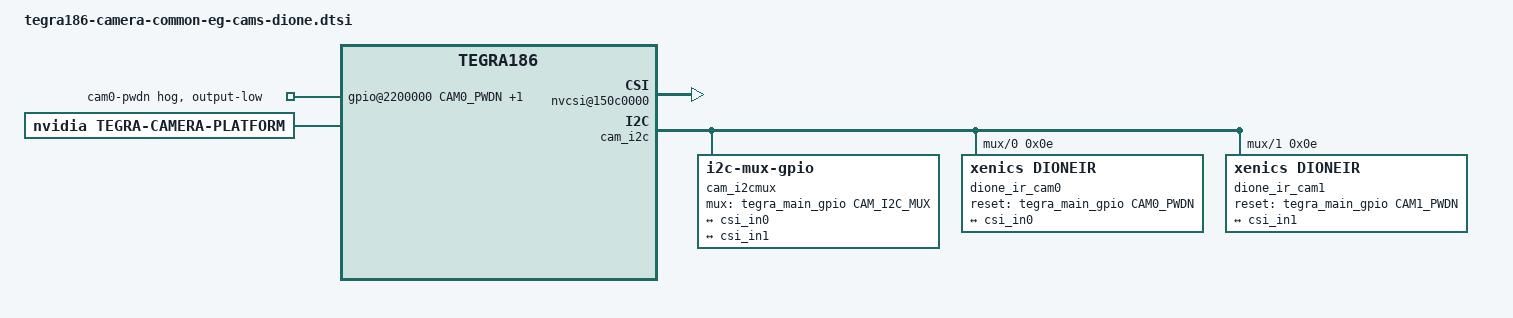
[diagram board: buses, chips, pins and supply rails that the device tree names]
/*
 * Copyright (c) 2025, Exosens.  All rights reserved.
 *
 * This program is free software; you can redistribute it and/or modify
 * it under the terms of the GNU General Public License as published by
 * the Free Software Foundation; either version 2 of the License, or
 * (at your option) any later version.
 *
 * Exosens EG cameras — common DT overlay for NVIDIA Jetson TX2 / TX2i / TX2 NX
 * (tegra186: quill p3310, quill p3489, lanai p3636)
 *
 * Hardware:
 *   CAM0: serial_a, port-index 0, I2C bus 9  (cam_i2cmux i2c@0)
 *   CAM1: serial_c, port-index 2, I2C bus 10 (cam_i2cmux i2c@1)
 *   cam_i2cmux GPIO mux: TEGRA_MAIN_GPIO(C, 4)
 *   CAM0_PWDN:           TEGRA_MAIN_GPIO(N, 0)
 *   CAM1_PWDN:           TEGRA_MAIN_GPIO(N, 3)
 */

#include <dt-bindings/media/camera.h>
#include <dt-bindings/gpio/tegra186-gpio.h>

#define CAM0_PWDN	TEGRA_MAIN_GPIO(N, 0)
#define CAM1_PWDN	TEGRA_MAIN_GPIO(N, 3)
#define CAM_I2C_MUX	TEGRA_MAIN_GPIO(C, 4)

/ {
	fragment@0 {
		target-path = "/";
		__overlay__ {
			host1x {
				vi@15700000 {
					status = "okay";
					num-channels = <2>;
					ports {
						status = "okay";
						#address-cells = <1>;
						#size-cells = <0>;
						port@0 {
							status = "okay";
							reg = <0>;
							endpoint {
								status = "okay";
								port-index = <0>;
								bus-width = <2>;
								/* remote-endpoint already wired to csi_out0 in base DTB */
							};
						};
						port@1 {
							status = "okay";
							reg = <1>;
							endpoint {
								status = "okay";
								port-index = <2>;
								bus-width = <2>;
								/* remote-endpoint already wired to csi_out1 in base DTB */
							};
						};
					};
				};

				nvcsi@150c0000 {
					status = "okay";
					num-channels = <2>;
					#address-cells = <1>;
					#size-cells = <0>;
					channel@0 {
						status = "okay";
						reg = <0>;
						ports {
							status = "okay";
							#address-cells = <1>;
							#size-cells = <0>;
							port@0 {
								status = "okay";
								reg = <0>;
								endpoint@0 {
									status = "okay";
									port-index = <0>;
									bus-width = <2>;
									remote-endpoint = <&xenics_dione_ir_out0>;
								};
							};
							port@1 {
								status = "okay";
								reg = <1>;
							};
						};
					};
					channel@1 {
						status = "okay";
						reg = <1>;
						ports {
							status = "okay";
							#address-cells = <1>;
							#size-cells = <0>;
							port@0 {
								status = "okay";
								reg = <0>;
								endpoint@2 {
									status = "okay";
									port-index = <2>;
									bus-width = <2>;
									remote-endpoint = <&xenics_dione_ir_out1>;
								};
							};
							port@1 {
								status = "okay";
								reg = <1>;
							};
						};
					};
				};
			};

			/* GPIO power-down control */
			gpio@2200000 {
				camera-control-output-low {
					gpio-hog;
					output-low;
					gpios = <CAM0_PWDN 0 CAM1_PWDN 0>;
					label = "cam0-pwdn", "cam1-pwdn";
				};
			};

			/* I2C mux — GPIO-controlled, parent is the camera I2C bus */
			cam_i2cmux {
				compatible = "i2c-mux-gpio";
				#address-cells = <1>;
				#size-cells = <0>;
				i2c-parent = <&cam_i2c>;
				mux-gpios = <&tegra_main_gpio CAM_I2C_MUX GPIO_ACTIVE_HIGH>;

				/* ----------------------------------------------------------------
				 * CAM0  —  serial_a, port-index 0, I2C bus 9
				 * ---------------------------------------------------------------- */
				i2c@0 {
					reg = <0>;
					#address-cells = <1>;
					#size-cells = <0>;

					dione_ir_cam0: xenics_dione_ir_a@0e {
						compatible = "xenics,dioneir", "exosens,dioneir";
						reg = <0x0e>;
						fpga-address = <0x5a 0x5b 0x5c 0x5d>;
						devnode = "video0";
						physical_w = "7.680";
						physical_h = "5.760";
						sensor_model = "dione_ir";
						use_sensor_mode_id = "false";
						reset-gpios = <&tegra_main_gpio CAM0_PWDN GPIO_ACTIVE_HIGH>;

						mode0 { /* DIONE_IR_MODE_640x480_60FPS */
							mclk_khz = "24000";
							num_lanes = "2";
							tegra_sinterface = "serial_a";
							phy_mode = "DPHY";
							discontinuous_clk = "no";
							dpcm_enable = "false";
							cil_settletime = "0";
							active_w = "640";
							active_h = "480";
							mode_type = "rgb";
							pixel_phase = "rgb888";
							csi_pixel_bit_depth = "24";
							readout_orientation = "0";
							line_length = "694";
							pix_clk_hz = "20000000";
							gain_factor = "16";
							exposure_factor = "1000000";
							min_gain_val = "16";
							max_gain_val = "170";
							step_gain_val = "1";
							default_gain = "16";
							min_hdr_ratio = "1";
							max_hdr_ratio = "1";
							framerate_factor = "1000000";
							min_framerate = "40000000";
							max_framerate = "62000000";
							step_framerate = "1";
							default_framerate = "60020000";
							min_exp_time = "13";
							max_exp_time = "683709";
							step_exp_time = "1";
							default_exp_time = "2495";
							embedded_metadata_height = "0";
						};
						mode1 { /* DIONE_IR_MODE_1280x1024_60FPS */
							mclk_khz = "24000";
							num_lanes = "2";
							tegra_sinterface = "serial_a";
							phy_mode = "DPHY";
							discontinuous_clk = "no";
							dpcm_enable = "false";
							cil_settletime = "0";
							active_w = "1280";
							active_h = "1024";
							mode_type = "rgb";
							pixel_phase = "rgb888";
							csi_pixel_bit_depth = "24";
							readout_orientation = "0";
							line_length = "1334";
							pix_clk_hz = "83000000";
							gain_factor = "16";
							exposure_factor = "1000000";
							min_gain_val = "16";
							max_gain_val = "170";
							step_gain_val = "1";
							default_gain = "16";
							min_hdr_ratio = "1";
							max_hdr_ratio = "1";
							framerate_factor = "1000000";
							min_framerate = "40000000";
							max_framerate = "62000000";
							step_framerate = "1";
							default_framerate = "60756000";
							min_exp_time = "13";
							max_exp_time = "683709";
							step_exp_time = "1";
							default_exp_time = "2495";
							embedded_metadata_height = "0";
						};
						mode2 { /* DIONE_IR_MODE_320x240_60FPS */
							mclk_khz = "24000";
							num_lanes = "2";
							tegra_sinterface = "serial_a";
							phy_mode = "DPHY";
							discontinuous_clk = "no";
							dpcm_enable = "false";
							cil_settletime = "0";
							active_w = "320";
							active_h = "240";
							mode_type = "rgb";
							pixel_phase = "rgb888";
							csi_pixel_bit_depth = "24";
							readout_orientation = "0";
							line_length = "1404";
							pix_clk_hz = "20000000";
							gain_factor = "16";
							exposure_factor = "1000000";
							min_gain_val = "16";
							max_gain_val = "170";
							step_gain_val = "1";
							default_gain = "16";
							min_hdr_ratio = "1";
							max_hdr_ratio = "1";
							framerate_factor = "1000000";
							min_framerate = "40000000";
							max_framerate = "62000000";
							step_framerate = "1";
							default_framerate = "60020000";
							min_exp_time = "13";
							max_exp_time = "683709";
							step_exp_time = "1";
							default_exp_time = "2495";
							embedded_metadata_height = "0";
						};
						mode3 { /* DIONE_IR_MODE_1024x768_60FPS */
							mclk_khz = "24000";
							num_lanes = "2";
							tegra_sinterface = "serial_a";
							phy_mode = "DPHY";
							discontinuous_clk = "no";
							dpcm_enable = "false";
							cil_settletime = "0";
							active_w = "1024";
							active_h = "768";
							mode_type = "rgb";
							pixel_phase = "rgb888";
							csi_pixel_bit_depth = "24";
							readout_orientation = "0";
							line_length = "1079";
							pix_clk_hz = "83000000";
							gain_factor = "16";
							exposure_factor = "1000000";
							min_gain_val = "16";
							max_gain_val = "170";
							step_gain_val = "1";
							default_gain = "16";
							min_hdr_ratio = "1";
							max_hdr_ratio = "1";
							framerate_factor = "1000000";
							min_framerate = "40000000";
							max_framerate = "62000000";
							step_framerate = "1";
							default_framerate = "60756000";
							min_exp_time = "13";
							max_exp_time = "683709";
							step_exp_time = "1";
							default_exp_time = "2495";
							embedded_metadata_height = "0";
						};
						ports {
							#address-cells = <1>;
							#size-cells = <0>;
							port@0 {
								reg = <0>;
								xenics_dione_ir_out0: endpoint {
									port-index = <0>;
									bus-width = <2>;
									remote-endpoint = <&csi_in0>;
									link-frequencies = /bits/ 64 <120000000 498000000>;
								};
							};
						};
					};

					eg_ec_cam0: eg_ec_a@16 {
						compatible = "xenics,eg-ec-mipi", "exosens,eg-ec-mipi";
						reg = <0x16>;
						devnode = "video0";
						sensor_model = "eg_ec";
						use_sensor_mode_id = "true";
						status = "disabled";

						mode0 { /* EC_MODE_640x480_RAW16 */
							num_lanes = "2";
							tegra_sinterface = "serial_a";
							phy_mode = "DPHY";
							discontinuous_clk = "yes";
							dpcm_enable = "false";
							cil_settletime = "0";
							active_w = "640";
							active_h = "480";
							line_length = "640";
							mode_type = "raw";
							pixel_phase = "grey";
							csi_pixel_bit_depth = "16";
							pix_clk_hz = "100000000";
							embedded_metadata_height = "0";
						};
						mode1 { /* EC_MODE_640x480_RGB888 */
							num_lanes = "2";
							tegra_sinterface = "serial_a";
							phy_mode = "DPHY";
							discontinuous_clk = "yes";
							dpcm_enable = "false";
							cil_settletime = "0";
							active_w = "640";
							active_h = "480";
							line_length = "640";
							mode_type = "rgb";
							pixel_phase = "rgb888";
							csi_pixel_bit_depth = "24";
							pix_clk_hz = "100000000";
							embedded_metadata_height = "0";
						};
						mode2 { /* EC_MODE_640x480_YUYV */
							num_lanes = "2";
							tegra_sinterface = "serial_a";
							phy_mode = "DPHY";
							discontinuous_clk = "yes";
							dpcm_enable = "false";
							cil_settletime = "0";
							active_w = "640";
							active_h = "480";
							line_length = "640";
							mode_type = "yuv";
							pixel_phase = "yuyv";
							csi_pixel_bit_depth = "16";
							pix_clk_hz = "100000000";
							embedded_metadata_height = "0";
						};
						mode3 { /* EC_MODE_1280x1024_RAW16 */
							num_lanes = "2";
							tegra_sinterface = "serial_a";
							phy_mode = "DPHY";
							discontinuous_clk = "yes";
							dpcm_enable = "false";
							cil_settletime = "0";
							active_w = "1280";
							active_h = "1024";
							line_length = "1280";
							mode_type = "raw";
							pixel_phase = "grey";
							csi_pixel_bit_depth = "16";
							pix_clk_hz = "100000000";
							embedded_metadata_height = "0";
						};
						mode4 { /* EC_MODE_1280x1024_RGB888 */
							num_lanes = "2";
							tegra_sinterface = "serial_a";
							phy_mode = "DPHY";
							discontinuous_clk = "yes";
							dpcm_enable = "false";
							cil_settletime = "0";
							active_w = "1280";
							active_h = "1024";
							line_length = "1280";
							mode_type = "rgb";
							pixel_phase = "rgb888";
							csi_pixel_bit_depth = "24";
							pix_clk_hz = "133333336";
							embedded_metadata_height = "0";
						};
						mode5 { /* EC_MODE_1280x1024_YUYV */
							num_lanes = "2";
							tegra_sinterface = "serial_a";
							phy_mode = "DPHY";
							discontinuous_clk = "yes";
							dpcm_enable = "false";
							cil_settletime = "0";
							active_w = "1280";
							active_h = "1024";
							line_length = "1280";
							mode_type = "yuv";
							pixel_phase = "yuyv";
							csi_pixel_bit_depth = "16";
							pix_clk_hz = "100000000";
							embedded_metadata_height = "0";
						};
						ports {
							#address-cells = <1>;
							#size-cells = <0>;
							port@0 {
								reg = <0>;
								eg_ec_out0: endpoint {
									port-index = <0>;
									bus-width = <2>;
									remote-endpoint = <&csi_in0>;
								};
							};
						};
					};

					ilumos_cam0: ilumos_a@30 {
						compatible = "exosens,ilumos";
						reg = <0x30>;
						sensor_model = "ilumos";
						use_sensor_mode_id = "false";
						status = "disabled";

						mode0 { /* ILUMOS_MODE_2048x2048_RAW16_BE */
							num_lanes = "2";
							tegra_sinterface = "serial_a";
							phy_mode = "DPHY";
							discontinuous_clk = "no";
							dpcm_enable = "false";
							cil_settletime = "0";
							active_w = "2048";
							active_h = "2048";
							line_length = "2048";
							mode_type = "raw";
							pixel_phase = "grey_be";
							csi_pixel_bit_depth = "16";
							pix_clk_hz = "148750000";
							embedded_metadata_height = "0";
							gain_factor = "16";
							exposure_factor = "1000000";
							min_gain_val = "16";
							max_gain_val = "170";
							step_gain_val = "1";
							default_gain = "16";
							min_hdr_ratio = "1";
							max_hdr_ratio = "1";
							framerate_factor = "1000000";
							min_framerate = "40000000";
							max_framerate = "62000000";
							step_framerate = "1";
							default_framerate = "60756000";
							min_exp_time = "13";
							max_exp_time = "683709";
							step_exp_time = "1";
							default_exp_time = "2495";
						};
						mode1 { /* ILUMOS_MODE_2048x1088_RAW16_BE */
							num_lanes = "2";
							tegra_sinterface = "serial_a";
							phy_mode = "DPHY";
							discontinuous_clk = "no";
							dpcm_enable = "false";
							cil_settletime = "0";
							active_w = "2048";
							active_h = "1088";
							line_length = "2048";
							mode_type = "raw";
							pixel_phase = "grey_be";
							csi_pixel_bit_depth = "16";
							pix_clk_hz = "148750000";
							embedded_metadata_height = "0";
							gain_factor = "16";
							exposure_factor = "1000000";
							min_gain_val = "16";
							max_gain_val = "170";
							step_gain_val = "1";
							default_gain = "16";
							min_hdr_ratio = "1";
							max_hdr_ratio = "1";
							framerate_factor = "1000000";
							min_framerate = "40000000";
							max_framerate = "62000000";
							step_framerate = "1";
							default_framerate = "60756000";
							min_exp_time = "13";
							max_exp_time = "683709";
							step_exp_time = "1";
							default_exp_time = "2495";
						};
						mode2 { /* ILUMOS_MODE_1280x1024_RAW16_BE */
							num_lanes = "2";
							tegra_sinterface = "serial_a";
							phy_mode = "DPHY";
							discontinuous_clk = "no";
							dpcm_enable = "false";
							cil_settletime = "0";
							active_w = "1280";
							active_h = "1024";
							line_length = "1280";
							mode_type = "raw";
							pixel_phase = "grey_be";
							csi_pixel_bit_depth = "16";
							pix_clk_hz = "148750000";
							embedded_metadata_height = "0";
							gain_factor = "16";
							exposure_factor = "1000000";
							min_gain_val = "16";
							max_gain_val = "170";
							step_gain_val = "1";
							default_gain = "16";
							min_hdr_ratio = "1";
							max_hdr_ratio = "1";
							framerate_factor = "1000000";
							min_framerate = "40000000";
							max_framerate = "62000000";
							step_framerate = "1";
							default_framerate = "60756000";
							min_exp_time = "13";
							max_exp_time = "683709";
							step_exp_time = "1";
							default_exp_time = "2495";
						};
						mode3 { /* ILUMOS_MODE_2048x2048_RAW14 */
							num_lanes = "2";
							tegra_sinterface = "serial_a";
							phy_mode = "DPHY";
							discontinuous_clk = "no";
							dpcm_enable = "false";
							cil_settletime = "0";
							active_w = "2048";
							active_h = "2048";
							line_length = "2048";
							mode_type = "raw";
							pixel_phase = "grey";
							csi_pixel_bit_depth = "14";
							pix_clk_hz = "148750000";
							embedded_metadata_height = "0";
							gain_factor = "16";
							exposure_factor = "1000000";
							min_gain_val = "16";
							max_gain_val = "170";
							step_gain_val = "1";
							default_gain = "16";
							min_hdr_ratio = "1";
							max_hdr_ratio = "1";
							framerate_factor = "1000000";
							min_framerate = "40000000";
							max_framerate = "62000000";
							step_framerate = "1";
							default_framerate = "60756000";
							min_exp_time = "13";
							max_exp_time = "683709";
							step_exp_time = "1";
							default_exp_time = "2495";
						};
						mode4 { /* ILUMOS_MODE_2048x1088_RAW14 */
							num_lanes = "2";
							tegra_sinterface = "serial_a";
							phy_mode = "DPHY";
							discontinuous_clk = "no";
							dpcm_enable = "false";
							cil_settletime = "0";
							active_w = "2048";
							active_h = "1088";
							line_length = "2048";
							mode_type = "raw";
							pixel_phase = "grey";
							csi_pixel_bit_depth = "14";
							pix_clk_hz = "148750000";
							embedded_metadata_height = "0";
							gain_factor = "16";
							exposure_factor = "1000000";
							min_gain_val = "16";
							max_gain_val = "170";
							step_gain_val = "1";
							default_gain = "16";
							min_hdr_ratio = "1";
							max_hdr_ratio = "1";
							framerate_factor = "1000000";
							min_framerate = "40000000";
							max_framerate = "62000000";
							step_framerate = "1";
							default_framerate = "60756000";
							min_exp_time = "13";
							max_exp_time = "683709";
							step_exp_time = "1";
							default_exp_time = "2495";
						};
						mode5 { /* ILUMOS_MODE_1280x1024_RAW14 */
							num_lanes = "2";
							tegra_sinterface = "serial_a";
							phy_mode = "DPHY";
							discontinuous_clk = "no";
							dpcm_enable = "false";
							cil_settletime = "0";
							active_w = "1280";
							active_h = "1024";
							line_length = "1280";
							mode_type = "raw";
							pixel_phase = "grey";
							csi_pixel_bit_depth = "14";
							pix_clk_hz = "148750000";
							embedded_metadata_height = "0";
							gain_factor = "16";
							exposure_factor = "1000000";
							min_gain_val = "16";
							max_gain_val = "170";
							step_gain_val = "1";
							default_gain = "16";
							min_hdr_ratio = "1";
							max_hdr_ratio = "1";
							framerate_factor = "1000000";
							min_framerate = "40000000";
							max_framerate = "62000000";
							step_framerate = "1";
							default_framerate = "60756000";
							min_exp_time = "13";
							max_exp_time = "683709";
							step_exp_time = "1";
							default_exp_time = "2495";
						};
						ports {
							#address-cells = <1>;
							#size-cells = <0>;
							port@0 {
								reg = <0>;
								ilumos_out0: endpoint {
									port-index = <0>;
									bus-width = <2>;
									remote-endpoint = <&csi_in0>;
								};
							};
						};
					};

					microlynx_cam0: microlynx_a@51 {
						compatible = "exosens,microlynx";
						reg = <0x51>;
						sensor_model = "microlynx";
						use_sensor_mode_id = "true";
						line-height = <128>;
						status = "disabled";

						mode0 { /* MICROLYNX_MODE_1024x128_RAW16 */
							num_lanes = "2";
							tegra_sinterface = "serial_a";
							phy_mode = "DPHY";
							discontinuous_clk = "no";
							dpcm_enable = "false";
							cil_settletime = "0";
							active_w = "1024";
							active_h = "128";
							line_length = "1024";
							mode_type = "raw";
							pixel_phase = "grey";
							csi_pixel_bit_depth = "16";
							pix_clk_hz = "90000000";
							embedded_metadata_height = "0";
						};
						mode1 { /* MICROLYNX_MODE_1024x128_RAW14 */
							num_lanes = "2";
							tegra_sinterface = "serial_a";
							phy_mode = "DPHY";
							discontinuous_clk = "no";
							dpcm_enable = "false";
							cil_settletime = "0";
							active_w = "1024";
							active_h = "128";
							line_length = "1024";
							mode_type = "raw";
							pixel_phase = "grey";
							csi_pixel_bit_depth = "14";
/*							pix_clk_hz = "100000000"; */   /* 350 MHz CSI clock */
							pix_clk_hz = "102857142";  /* 360 MHz CSI clock */
							embedded_metadata_height = "0";
						};
						ports {
							#address-cells = <1>;
							#size-cells = <0>;
							port@0 {
								reg = <0>;
								microlynx_out0: endpoint {
									port-index = <0>;
									bus-width = <2>;
									remote-endpoint = <&csi_in0>;
								};
							};
						};
					};
				}; /* i2c@0 */

				/* ----------------------------------------------------------------
				 * CAM1  —  serial_c, port-index 2, I2C bus 10
				 * ---------------------------------------------------------------- */
				i2c@1 {
					reg = <1>;
					#address-cells = <1>;
					#size-cells = <0>;

					dione_ir_cam1: xenics_dione_ir_c@0e {
						compatible = "xenics,dioneir", "exosens,dioneir";
						reg = <0x0e>;
						fpga-address = <0x5a 0x5b 0x5c 0x5d>;
						devnode = "video1";
						physical_w = "7.680";
						physical_h = "5.760";
						sensor_model = "dione_ir";
						use_sensor_mode_id = "false";
						reset-gpios = <&tegra_main_gpio CAM1_PWDN GPIO_ACTIVE_HIGH>;

						mode0 { /* DIONE_IR_MODE_640x480_60FPS */
							mclk_khz = "24000";
							num_lanes = "2";
							tegra_sinterface = "serial_c";
							phy_mode = "DPHY";
							discontinuous_clk = "no";
							dpcm_enable = "false";
							cil_settletime = "0";
							active_w = "640";
							active_h = "480";
							mode_type = "rgb";
							pixel_phase = "rgb888";
							csi_pixel_bit_depth = "24";
							readout_orientation = "0";
							line_length = "694";
							pix_clk_hz = "20000000";
							gain_factor = "16";
							exposure_factor = "1000000";
							min_gain_val = "16";
							max_gain_val = "170";
							step_gain_val = "1";
							default_gain = "16";
							min_hdr_ratio = "1";
							max_hdr_ratio = "1";
							framerate_factor = "1000000";
							min_framerate = "40000000";
							max_framerate = "62000000";
							step_framerate = "1";
							default_framerate = "60020000";
							min_exp_time = "13";
							max_exp_time = "683709";
							step_exp_time = "1";
							default_exp_time = "2495";
							embedded_metadata_height = "0";
						};
						mode1 { /* DIONE_IR_MODE_1280x1024_60FPS */
							mclk_khz = "24000";
							num_lanes = "2";
							tegra_sinterface = "serial_c";
							phy_mode = "DPHY";
							discontinuous_clk = "no";
							dpcm_enable = "false";
							cil_settletime = "0";
							active_w = "1280";
							active_h = "1024";
							mode_type = "rgb";
							pixel_phase = "rgb888";
							csi_pixel_bit_depth = "24";
							readout_orientation = "0";
							line_length = "1334";
							pix_clk_hz = "83000000";
							gain_factor = "16";
							exposure_factor = "1000000";
							min_gain_val = "16";
							max_gain_val = "170";
							step_gain_val = "1";
							default_gain = "16";
							min_hdr_ratio = "1";
							max_hdr_ratio = "1";
							framerate_factor = "1000000";
							min_framerate = "40000000";
							max_framerate = "62000000";
							step_framerate = "1";
							default_framerate = "60756000";
							min_exp_time = "13";
							max_exp_time = "683709";
							step_exp_time = "1";
							default_exp_time = "2495";
							embedded_metadata_height = "0";
						};
						mode2 { /* DIONE_IR_MODE_320x240_60FPS */
							mclk_khz = "24000";
							num_lanes = "2";
							tegra_sinterface = "serial_c";
							phy_mode = "DPHY";
							discontinuous_clk = "no";
							dpcm_enable = "false";
							cil_settletime = "0";
							active_w = "320";
							active_h = "240";
							mode_type = "rgb";
							pixel_phase = "rgb888";
							csi_pixel_bit_depth = "24";
							readout_orientation = "0";
							line_length = "1404";
							pix_clk_hz = "20000000";
							gain_factor = "16";
							exposure_factor = "1000000";
							min_gain_val = "16";
							max_gain_val = "170";
							step_gain_val = "1";
							default_gain = "16";
							min_hdr_ratio = "1";
							max_hdr_ratio = "1";
							framerate_factor = "1000000";
							min_framerate = "40000000";
							max_framerate = "62000000";
							step_framerate = "1";
							default_framerate = "60020000";
							min_exp_time = "13";
							max_exp_time = "683709";
							step_exp_time = "1";
							default_exp_time = "2495";
							embedded_metadata_height = "0";
						};
						mode3 { /* DIONE_IR_MODE_1024x768_60FPS */
							mclk_khz = "24000";
							num_lanes = "2";
							tegra_sinterface = "serial_c";
							phy_mode = "DPHY";
							discontinuous_clk = "no";
							dpcm_enable = "false";
							cil_settletime = "0";
							active_w = "1024";
							active_h = "768";
							mode_type = "rgb";
							pixel_phase = "rgb888";
							csi_pixel_bit_depth = "24";
							readout_orientation = "0";
							line_length = "1079";
							pix_clk_hz = "83000000";
							gain_factor = "16";
							exposure_factor = "1000000";
							min_gain_val = "16";
							max_gain_val = "170";
							step_gain_val = "1";
							default_gain = "16";
							min_hdr_ratio = "1";
							max_hdr_ratio = "1";
							framerate_factor = "1000000";
							min_framerate = "40000000";
							max_framerate = "62000000";
							step_framerate = "1";
							default_framerate = "60756000";
							min_exp_time = "13";
							max_exp_time = "683709";
							step_exp_time = "1";
							default_exp_time = "2495";
							embedded_metadata_height = "0";
						};
						ports {
							#address-cells = <1>;
							#size-cells = <0>;
							port@0 {
								reg = <0>;
								xenics_dione_ir_out1: endpoint {
									port-index = <2>;
									bus-width = <2>;
									remote-endpoint = <&csi_in1>;
									link-frequencies = /bits/ 64 <120000000 498000000>;
								};
							};
						};
					};

					eg_ec_cam1: eg_ec_c@16 {
						compatible = "xenics,eg-ec-mipi", "exosens,eg-ec-mipi";
						reg = <0x16>;
						devnode = "video1";
						sensor_model = "eg_ec";
						use_sensor_mode_id = "true";
						status = "disabled";

						mode0 { /* EC_MODE_640x480_RAW16 */
							num_lanes = "2";
							tegra_sinterface = "serial_c";
							phy_mode = "DPHY";
							discontinuous_clk = "yes";
							dpcm_enable = "false";
							cil_settletime = "0";
							active_w = "640";
							active_h = "480";
							line_length = "640";
							mode_type = "raw";
							pixel_phase = "grey";
							csi_pixel_bit_depth = "16";
							pix_clk_hz = "100000000";
							embedded_metadata_height = "0";
						};
						mode1 { /* EC_MODE_640x480_RGB888 */
							num_lanes = "2";
							tegra_sinterface = "serial_c";
							phy_mode = "DPHY";
							discontinuous_clk = "yes";
							dpcm_enable = "false";
							cil_settletime = "0";
							active_w = "640";
							active_h = "480";
							line_length = "640";
							mode_type = "rgb";
							pixel_phase = "rgb888";
							csi_pixel_bit_depth = "24";
							pix_clk_hz = "100000000";
							embedded_metadata_height = "0";
						};
						mode2 { /* EC_MODE_640x480_YUYV */
							num_lanes = "2";
							tegra_sinterface = "serial_c";
							phy_mode = "DPHY";
							discontinuous_clk = "yes";
							dpcm_enable = "false";
							cil_settletime = "0";
							active_w = "640";
							active_h = "480";
							line_length = "640";
							mode_type = "yuv";
							pixel_phase = "yuyv";
							csi_pixel_bit_depth = "16";
							pix_clk_hz = "100000000";
							embedded_metadata_height = "0";
						};
						mode3 { /* EC_MODE_1280x1024_RAW16 */
							num_lanes = "2";
							tegra_sinterface = "serial_c";
							phy_mode = "DPHY";
							discontinuous_clk = "yes";
							dpcm_enable = "false";
							cil_settletime = "0";
							active_w = "1280";
							active_h = "1024";
							line_length = "1280";
							mode_type = "raw";
							pixel_phase = "grey";
							csi_pixel_bit_depth = "16";
							pix_clk_hz = "100000000";
							embedded_metadata_height = "0";
						};
						mode4 { /* EC_MODE_1280x1024_RGB888 */
							num_lanes = "2";
							tegra_sinterface = "serial_c";
							phy_mode = "DPHY";
							discontinuous_clk = "yes";
							dpcm_enable = "false";
							cil_settletime = "0";
							active_w = "1280";
							active_h = "1024";
							line_length = "1280";
							mode_type = "rgb";
							pixel_phase = "rgb888";
							csi_pixel_bit_depth = "24";
							pix_clk_hz = "133333336";
							embedded_metadata_height = "0";
						};
						mode5 { /* EC_MODE_1280x1024_YUYV */
							num_lanes = "2";
							tegra_sinterface = "serial_c";
							phy_mode = "DPHY";
							discontinuous_clk = "yes";
							dpcm_enable = "false";
							cil_settletime = "0";
							active_w = "1280";
							active_h = "1024";
							line_length = "1280";
							mode_type = "yuv";
							pixel_phase = "yuyv";
							csi_pixel_bit_depth = "16";
							pix_clk_hz = "100000000";
							embedded_metadata_height = "0";
						};
						ports {
							#address-cells = <1>;
							#size-cells = <0>;
							port@0 {
								reg = <0>;
								eg_ec_out1: endpoint {
									port-index = <2>;
									bus-width = <2>;
									remote-endpoint = <&csi_in1>;
								};
							};
						};
					};

					ilumos_cam1: ilumos_c@30 {
						compatible = "exosens,ilumos";
						reg = <0x30>;
						sensor_model = "ilumos";
						use_sensor_mode_id = "false";
						status = "disabled";

						mode0 { /* ILUMOS_MODE_2048x2048_RAW16_BE */
							num_lanes = "2";
							tegra_sinterface = "serial_c";
							phy_mode = "DPHY";
							discontinuous_clk = "no";
							dpcm_enable = "false";
							cil_settletime = "0";
							active_w = "2048";
							active_h = "2048";
							line_length = "2048";
							mode_type = "raw";
							pixel_phase = "grey_be";
							csi_pixel_bit_depth = "16";
							pix_clk_hz = "148750000";
							embedded_metadata_height = "0";
							gain_factor = "16";
							exposure_factor = "1000000";
							min_gain_val = "16";
							max_gain_val = "170";
							step_gain_val = "1";
							default_gain = "16";
							min_hdr_ratio = "1";
							max_hdr_ratio = "1";
							framerate_factor = "1000000";
							min_framerate = "40000000";
							max_framerate = "62000000";
							step_framerate = "1";
							default_framerate = "60756000";
							min_exp_time = "13";
							max_exp_time = "683709";
							step_exp_time = "1";
							default_exp_time = "2495";
						};
						mode1 { /* ILUMOS_MODE_2048x1088_RAW16_BE */
							num_lanes = "2";
							tegra_sinterface = "serial_c";
							phy_mode = "DPHY";
							discontinuous_clk = "no";
							dpcm_enable = "false";
							cil_settletime = "0";
							active_w = "2048";
							active_h = "1088";
							line_length = "2048";
							mode_type = "raw";
							pixel_phase = "grey_be";
							csi_pixel_bit_depth = "16";
							pix_clk_hz = "148750000";
							embedded_metadata_height = "0";
							gain_factor = "16";
							exposure_factor = "1000000";
							min_gain_val = "16";
							max_gain_val = "170";
							step_gain_val = "1";
							default_gain = "16";
							min_hdr_ratio = "1";
							max_hdr_ratio = "1";
							framerate_factor = "1000000";
							min_framerate = "40000000";
							max_framerate = "62000000";
							step_framerate = "1";
							default_framerate = "60756000";
							min_exp_time = "13";
							max_exp_time = "683709";
							step_exp_time = "1";
							default_exp_time = "2495";
						};
						mode2 { /* ILUMOS_MODE_1280x1024_RAW16_BE */
							num_lanes = "2";
							tegra_sinterface = "serial_c";
							phy_mode = "DPHY";
							discontinuous_clk = "no";
							dpcm_enable = "false";
							cil_settletime = "0";
							active_w = "1280";
							active_h = "1024";
							line_length = "1280";
							mode_type = "raw";
							pixel_phase = "grey_be";
							csi_pixel_bit_depth = "16";
							pix_clk_hz = "148750000";
							embedded_metadata_height = "0";
							gain_factor = "16";
							exposure_factor = "1000000";
							min_gain_val = "16";
							max_gain_val = "170";
							step_gain_val = "1";
							default_gain = "16";
							min_hdr_ratio = "1";
							max_hdr_ratio = "1";
							framerate_factor = "1000000";
							min_framerate = "40000000";
							max_framerate = "62000000";
							step_framerate = "1";
							default_framerate = "60756000";
							min_exp_time = "13";
							max_exp_time = "683709";
							step_exp_time = "1";
							default_exp_time = "2495";
						};
						mode3 { /* ILUMOS_MODE_2048x2048_RAW14 */
							num_lanes = "2";
							tegra_sinterface = "serial_c";
							phy_mode = "DPHY";
							discontinuous_clk = "no";
							dpcm_enable = "false";
							cil_settletime = "0";
							active_w = "2048";
							active_h = "2048";
							line_length = "2048";
							mode_type = "raw";
							pixel_phase = "grey";
							csi_pixel_bit_depth = "14";
							pix_clk_hz = "148750000";
							embedded_metadata_height = "0";
							gain_factor = "16";
							exposure_factor = "1000000";
							min_gain_val = "16";
							max_gain_val = "170";
							step_gain_val = "1";
							default_gain = "16";
							min_hdr_ratio = "1";
							max_hdr_ratio = "1";
							framerate_factor = "1000000";
							min_framerate = "40000000";
							max_framerate = "62000000";
							step_framerate = "1";
							default_framerate = "60756000";
							min_exp_time = "13";
							max_exp_time = "683709";
							step_exp_time = "1";
							default_exp_time = "2495";
						};
						mode4 { /* ILUMOS_MODE_2048x1088_RAW14 */
							num_lanes = "2";
							tegra_sinterface = "serial_c";
							phy_mode = "DPHY";
							discontinuous_clk = "no";
							dpcm_enable = "false";
							cil_settletime = "0";
							active_w = "2048";
							active_h = "1088";
							line_length = "2048";
							mode_type = "raw";
							pixel_phase = "grey";
							csi_pixel_bit_depth = "14";
							pix_clk_hz = "148750000";
							embedded_metadata_height = "0";
							gain_factor = "16";
							exposure_factor = "1000000";
							min_gain_val = "16";
							max_gain_val = "170";
							step_gain_val = "1";
							default_gain = "16";
							min_hdr_ratio = "1";
							max_hdr_ratio = "1";
							framerate_factor = "1000000";
							min_framerate = "40000000";
							max_framerate = "62000000";
							step_framerate = "1";
							default_framerate = "60756000";
							min_exp_time = "13";
							max_exp_time = "683709";
							step_exp_time = "1";
							default_exp_time = "2495";
						};
						mode5 { /* ILUMOS_MODE_1280x1024_RAW14 */
							num_lanes = "2";
							tegra_sinterface = "serial_c";
							phy_mode = "DPHY";
							discontinuous_clk = "no";
							dpcm_enable = "false";
							cil_settletime = "0";
							active_w = "1280";
							active_h = "1024";
							line_length = "1280";
							mode_type = "raw";
							pixel_phase = "grey";
							csi_pixel_bit_depth = "14";
							pix_clk_hz = "148750000";
							embedded_metadata_height = "0";
							gain_factor = "16";
							exposure_factor = "1000000";
							min_gain_val = "16";
							max_gain_val = "170";
							step_gain_val = "1";
							default_gain = "16";
							min_hdr_ratio = "1";
							max_hdr_ratio = "1";
							framerate_factor = "1000000";
							min_framerate = "40000000";
							max_framerate = "62000000";
							step_framerate = "1";
							default_framerate = "60756000";
							min_exp_time = "13";
							max_exp_time = "683709";
							step_exp_time = "1";
							default_exp_time = "2495";
						};
						ports {
							#address-cells = <1>;
							#size-cells = <0>;
							port@0 {
								reg = <0>;
								ilumos_out1: endpoint {
									port-index = <2>;
									bus-width = <2>;
									remote-endpoint = <&csi_in1>;
								};
							};
						};
					};

					microlynx_cam1: microlynx_c@51 {
						compatible = "exosens,microlynx";
						reg = <0x51>;
						sensor_model = "microlynx";
						use_sensor_mode_id = "true";
						line-height = <128>;
						status = "disabled";

						mode0 { /* MICROLYNX_MODE_1024x128_RAW16 */
							num_lanes = "2";
							tegra_sinterface = "serial_c";
							phy_mode = "DPHY";
							discontinuous_clk = "no";
							dpcm_enable = "false";
							cil_settletime = "0";
							active_w = "1024";
							active_h = "128";
							line_length = "1024";
							mode_type = "raw";
							pixel_phase = "grey";
							csi_pixel_bit_depth = "16";
							pix_clk_hz = "90000000";
							embedded_metadata_height = "0";
						};
						mode1 { /* MICROLYNX_MODE_1024x128_RAW14 */
							num_lanes = "2";
							tegra_sinterface = "serial_c";
							phy_mode = "DPHY";
							discontinuous_clk = "no";
							dpcm_enable = "false";
							cil_settletime = "0";
							active_w = "1024";
							active_h = "128";
							line_length = "1024";
							mode_type = "raw";
							pixel_phase = "grey";
							csi_pixel_bit_depth = "14";
/*							pix_clk_hz = "100000000"; */   /* 350 MHz CSI clock */
							pix_clk_hz = "102857142";  /* 360 MHz CSI clock */
							embedded_metadata_height = "0";
						};
						ports {
							#address-cells = <1>;
							#size-cells = <0>;
							port@0 {
								reg = <0>;
								microlynx_out1: endpoint {
									port-index = <2>;
									bus-width = <2>;
									remote-endpoint = <&csi_in1>;
								};
							};
						};
					};
				}; /* i2c@1 */
			}; /* cam_i2cmux */

			tegra-camera-platform {
				compatible = "nvidia, tegra-camera-platform";
				num_csi_lanes = <4>;
				max_lane_speed = <1500000>;
				min_bits_per_pixel = <10>;
				vi_peak_byte_per_pixel = <2>;
				vi_bw_margin_pct = <25>;
				max_pixel_rate = <240000>;
				isp_peak_byte_per_pixel = <5>;
				isp_bw_margin_pct = <25>;
				modules {
					module0 {
						badge = "front_eg_cam";
						position = "front";
						orientation = "1";
						cam_module0_drivernode0: drivernode0 {
							pcl_id = "v4l2_sensor";
							devname = "dione_ir 9-000e";
							proc-device-tree = "/proc/device-tree/cam_i2cmux/i2c@0/xenics_dione_ir_a@0e";
						};
					};
					module1 {
						badge = "rear_eg_cam";
						position = "rear";
						orientation = "1";
						cam_module1_drivernode0: drivernode0 {
							pcl_id = "v4l2_sensor";
							devname = "dione_ir 10-000e";
							proc-device-tree = "/proc/device-tree/cam_i2cmux/i2c@1/xenics_dione_ir_c@0e";
						};
					};
				};
			};
		}; /* __overlay__ */
	}; /* fragment@0 */
};
